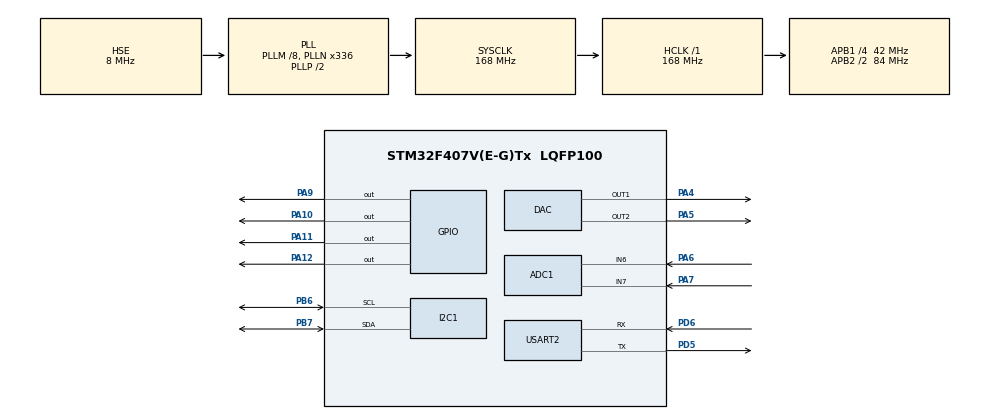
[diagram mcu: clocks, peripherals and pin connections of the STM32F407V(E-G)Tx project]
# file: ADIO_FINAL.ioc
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ADC1.Channel-10\#ChannelRegularConversion=ADC_CHANNEL_7
ADC1.Channel-7\#ChannelRegularConversion=ADC_CHANNEL_6
ADC1.ContinuousConvMode=ENABLE
ADC1.DMAContinuousRequests=ENABLE
ADC1.EOCSelection=ADC_EOC_SEQ_CONV
ADC1.EnableAnalogWatchDog=false
ADC1.InjNumberOfConversion=0
ADC1.NbrOfConversion=2
ADC1.NbrOfConversionFlag=1
ADC1.Rank-10\#ChannelRegularConversion=2
ADC1.Rank-7\#ChannelRegularConversion=1
ADC1.SamplingTime-10\#ChannelRegularConversion=ADC_SAMPLETIME_480CYCLES
ADC1.SamplingTime-7\#ChannelRegularConversion=ADC_SAMPLETIME_480CYCLES
ADC1.master=1
Dma.ADC1.0.Direction=DMA_PERIPH_TO_MEMORY
Dma.ADC1.0.FIFOMode=DMA_FIFOMODE_DISABLE
Dma.ADC1.0.Instance=DMA2_Stream0
Dma.ADC1.0.MemDataAlignment=DMA_MDATAALIGN_HALFWORD
Dma.ADC1.0.MemInc=DMA_MINC_ENABLE
Dma.ADC1.0.Mode=DMA_CIRCULAR
Dma.ADC1.0.PeriphDataAlignment=DMA_PDATAALIGN_HALFWORD
Dma.ADC1.0.PeriphInc=DMA_PINC_DISABLE
Dma.ADC1.0.Priority=DMA_PRIORITY_LOW
Dma.Request0=ADC1
I2C1.I2C_Mode=I2C_Standard
Mcu.Family=STM32F4
Mcu.Name=STM32F407V(E-G)Tx
Mcu.Package=LQFP100
NVIC.ADC_IRQn=true\:3\:0\:true\:false\:true\:true\:true\:true
NVIC.DMA2_Stream0_IRQn=true\:0\:0\:false\:false\:true\:false\:true\:true
NVIC.PriorityGroup=NVIC_PRIORITYGROUP_4
NVIC.TIM1_UP_TIM10_IRQn=true\:1\:0\:true\:false\:true\:true\:true\:true
NVIC.TIM2_IRQn=true\:2\:0\:true\:false\:true\:true\:true\:true
NVIC.TIM6_DAC_IRQn=true\:4\:0\:true\:false\:true\:true\:true\:true
NVIC.USART2_IRQn=true\:0\:0\:true\:false\:true\:true\:true\:true
PA10.Signal=GPIO_Output
PA11.Signal=GPIO_Output
PA12.Signal=GPIO_Output
PA13.Mode=Serial_Wire
PA13.Signal=SYS_JTMS-SWDIO
PA14.Mode=Serial_Wire
PA14.Signal=SYS_JTCK-SWCLK
PA4.Signal=COMP_DAC1_group
PA5.Signal=COMP_DAC2_group
PA6.Signal=ADCx_IN6
PA7.Signal=ADCx_IN7
PA9.Signal=GPIO_Output
PB6.Mode=I2C
PB6.Signal=I2C1_SCL
PB7.Mode=I2C
PB7.Signal=I2C1_SDA
PD5.Mode=Asynchronous
PD5.Signal=USART2_TX
PD6.Mode=Asynchronous
PD6.Signal=USART2_RX
PH0-OSC_IN.Mode=HSE-External-Oscillator
PH0-OSC_IN.Signal=RCC_OSC_IN
PH1-OSC_OUT.Mode=HSE-External-Oscillator
PH1-OSC_OUT.Signal=RCC_OSC_OUT
ProjectManager.HeapSize=0x200
ProjectManager.StackSize=0x400
ProjectManager.TargetToolchain=STM32CubeIDE
RCC.48MHZClocksFreq_Value=48000000
RCC.AHBFreq_Value=168000000
RCC.APB1CLKDivider=RCC_HCLK_DIV4
RCC.APB1Freq_Value=42000000
RCC.APB1TimFreq_Value=84000000
RCC.APB2CLKDivider=RCC_HCLK_DIV2
RCC.APB2Freq_Value=84000000
RCC.APB2TimFreq_Value=168000000
RCC.CortexFreq_Value=168000000
RCC.HCLKFreq_Value=168000000
RCC.HSE_VALUE=8000000
RCC.HSI_VALUE=16000000
RCC.LSE_VALUE=32768
RCC.PLLM=8
RCC.PLLN=336
RCC.PLLQ=7
RCC.PLLSourceVirtual=RCC_PLLSOURCE_HSE
RCC.SYSCLKFreq_VALUE=168000000
RCC.SYSCLKSource=RCC_SYSCLKSOURCE_PLLCLK
RCC.VCOOutputFreq_Value=336000000
SH.ADCx_IN6.0=ADC1_IN6,IN6
SH.ADCx_IN7.0=ADC1_IN7,IN7
SH.COMP_DAC1_group.0=DAC_OUT1,DAC_OUT1
SH.COMP_DAC2_group.0=DAC_OUT2,DAC_OUT2
TIM1.Period=4199
TIM1.Prescaler=1
TIM2.Period=4199
TIM2.Prescaler=0
TIM6.Period=999
TIM6.Prescaler=83
USART2.VirtualMode=VM_ASYNC
VP_TIM1_VS_ClockSourceINT.Mode=Internal
VP_TIM2_VS_ClockSourceINT.Mode=Internal
VP_TIM6_VS_ClockSourceINT.Mode=Enable_Timer
board=STM32F407G-DISC1

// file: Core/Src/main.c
/* USER CODE BEGIN Header */
/**
 ******************************************************************************
 * @file           : main.c
 * @brief          : Main program body
 ******************************************************************************
 * @attention
 *
 * Copyright (c) 2025 STMicroelectronics.
 * All rights reserved.
 *
 * This software is licensed under terms that can be found in the LICENSE file
 * in the root directory of this software component.
 * If no LICENSE file comes with this software, it is provided AS-IS.
 *
 ******************************************************************************
 */
/* USER CODE END Header */
#include "main.h"

/* USER CODE BEGIN Includes */
#include "test.h"

#include <stdio.h>
#include <string.h>
#include "uart_handler.h"
#include <math.h>
#include "i2ccomm.h"
#include "motor_control.h"
#include "test.h"
#include "relay_driver.h"
#include "DAC_Generator.h"
/* USER CODE END Includes */

ADC_HandleTypeDef hadc1;
DMA_HandleTypeDef hdma_adc1;

DAC_HandleTypeDef hdac;

I2C_HandleTypeDef hi2c1;

TIM_HandleTypeDef htim1;
TIM_HandleTypeDef htim2;
TIM_HandleTypeDef htim6;

UART_HandleTypeDef huart2;

/* USER CODE BEGIN PV */
// Application state variable
volatile uint8_t g_test_is_running = 1;
/* USER CODE END PV */

void SystemClock_Config(void);
static void MX_GPIO_Init(void);
static void MX_DMA_Init(void);
static void MX_ADC1_Init(void);
static void MX_TIM2_Init(void);
static void MX_USART2_UART_Init(void);
static void MX_I2C1_Init(void);
static void MX_TIM1_Init(void);
static void MX_TIM6_Init(void);
static void MX_DAC_Init(void);

int main(void)
{

  /* MCU Configuration--------------------------------------------------------*/

  /* Reset of all peripherals, Initializes the Flash interface and the Systick. */
  HAL_Init();

  /* Configure the system clock */
  SystemClock_Config();

  /* Initialize all configured peripherals */
  MX_GPIO_Init();
  MX_DMA_Init();
  MX_ADC1_Init();
  MX_TIM2_Init();
  MX_USART2_UART_Init();
  MX_I2C1_Init();
  MX_TIM1_Init();
  MX_TIM6_Init();
  MX_DAC_Init();
  /* USER CODE BEGIN 2 */
  int cmd_int = 0 ;
  uart_handler_init(&huart2);
  MotorControl_Init();
  Test_Init();
  /* USER CODE END 2 */

  /* Infinite loop */
	while (1) {

    /* USER CODE BEGIN 3 */
		/* ================================================================
		 * SECTION 1: UART COMMAND HANDLING (PRODUCER–CONSUMER)
		 * ================================================================ */

        if (uart_command_is_ready()) {

			const char *command = (const char*) uart_get_command_buffer();

			printf("DBG_MAIN: Command received: [%s]\r\n", command);
			fflush(stdout);

			if (strcmp(command, "CMD:PERFORM_TEST") == 0) {
				g_test_is_running = 0;
			}
			else if (strcmp(command, "CMD:STOP_TEST") == 0) {
				g_test_is_running = 1;
			} else if (strcmp(command, "CMD:CONFIG1") == 0) {
				g_test_is_running = 2;
			} else if (strcmp(command, "CMD:CONFIG2") == 0) {
				g_test_is_running = 3;
			} else if (strcmp(command, "CMD:CONFIG3") == 0) {
				g_test_is_running = 4;
			} else if (strcmp(command, "CMD:CONFIG4") == 0) {
				g_test_is_running = 5;
			}
			else if (sscanf(command, "CMD:SET_M1 %d", &cmd_int) == 1)
			{
				g_test_is_running = 6;
			}
			else if (sscanf(command, "CMD:SET_M2 %d", &cmd_int) == 1)
			{
				g_test_is_running = 7;
			}
			else
			{
				printf("DBG_MAIN: Unknown command\r\n");
				fflush(stdout);
			}

			uart_reset_for_next_command();
		}

		/* ================================================================
		 * SECTION 2: STATE-BASED ACTION DISPATCH
		 * ================================================================ */
		switch (g_test_is_running) {
		case 0:
			/* Full automated test */
			Test_Run();
			break;
		case 1:
			break;

		case 2:
			/* Corner 1: MIN / MIN */
			Test_GotoCorner(1);
			break;

		case 3:
			/* Corner 2: MIN / MAX */
			Test_GotoCorner(2);
			break;

		case 4:
			/* Corner 3: MAX / MIN */
			Test_GotoCorner(3);
			break;

		case 5:
			/* Corner 4: MAX / MAX */
			Test_GotoCorner(4);
			break;

		case 6:   // CMD:SET_M1 <0..100>
		{
		    if (cmd_int < 0)   cmd_int = 0;
		    if (cmd_int > 100) cmd_int = 100;

		    uint16_t targetPOS =
		        (uint16_t)(((uint32_t)cmd_int * 4095U) / 100U);
		    if (targetPOS < 409){
		    	targetPOS = 410;
		    }
		    if (targetPOS > 3685){
		    	targetPOS = 3684;
		    }

		    Motor_Set(MOTOR_1, targetPOS);

		    g_test_is_running = 1;
		    break;
		}
		case 7:   // CMD:SET_M2 <0..100>
		{
		    if (cmd_int < 0)   cmd_int = 0;
		    if (cmd_int > 100) cmd_int = 100;

		    uint16_t targetPOS =
		        (uint16_t)(((uint32_t)cmd_int * 4095U) / 100U);

		    if (targetPOS < 409){
		    	targetPOS = 410;
		    }
		    if (targetPOS > 3685){
		    	targetPOS= 3684;
		    }

		    Motor_Set(MOTOR_2, targetPOS);

		    g_test_is_running = 1;
		    break;
		}

		default:
			/* Idle */
			break;
		}
	}
  /* USER CODE END 3 */
}

void SystemClock_Config(void)
{
  RCC_OscInitTypeDef RCC_OscInitStruct = {0};
  RCC_ClkInitTypeDef RCC_ClkInitStruct = {0};

  /** Configure the main internal regulator output voltage
  */
  __HAL_RCC_PWR_CLK_ENABLE();
  __HAL_PWR_VOLTAGESCALING_CONFIG(PWR_REGULATOR_VOLTAGE_SCALE1);

  /** Initializes the RCC Oscillators according to the specified parameters
  * in the RCC_OscInitTypeDef structure.
  */
  RCC_OscInitStruct.OscillatorType = RCC_OSCILLATORTYPE_HSE;
  RCC_OscInitStruct.HSEState = RCC_HSE_ON;
  RCC_OscInitStruct.PLL.PLLState = RCC_PLL_ON;
  RCC_OscInitStruct.PLL.PLLSource = RCC_PLLSOURCE_HSE;
  RCC_OscInitStruct.PLL.PLLM = 8;
  RCC_OscInitStruct.PLL.PLLN = 336;
  RCC_OscInitStruct.PLL.PLLP = RCC_PLLP_DIV2;
  RCC_OscInitStruct.PLL.PLLQ = 7;
  if (HAL_RCC_OscConfig(&RCC_OscInitStruct) != HAL_OK)
  {
    Error_Handler();
  }

  /** Initializes the CPU, AHB and APB buses clocks
  */
  RCC_ClkInitStruct.ClockType = RCC_CLOCKTYPE_HCLK|RCC_CLOCKTYPE_SYSCLK
                              |RCC_CLOCKTYPE_PCLK1|RCC_CLOCKTYPE_PCLK2;
  RCC_ClkInitStruct.SYSCLKSource = RCC_SYSCLKSOURCE_PLLCLK;
  RCC_ClkInitStruct.AHBCLKDivider = RCC_SYSCLK_DIV1;
  RCC_ClkInitStruct.APB1CLKDivider = RCC_HCLK_DIV4;
  RCC_ClkInitStruct.APB2CLKDivider = RCC_HCLK_DIV2;

  if (HAL_RCC_ClockConfig(&RCC_ClkInitStruct, FLASH_LATENCY_5) != HAL_OK)
  {
    Error_Handler();
  }
}

static void MX_ADC1_Init(void)
{

  ADC_ChannelConfTypeDef sConfig = {0};

  /** Configure the global features of the ADC (Clock, Resolution, Data Alignment and number of conversion)
  */
  hadc1.Instance = ADC1;
  hadc1.Init.ClockPrescaler = ADC_CLOCK_SYNC_PCLK_DIV4;
  hadc1.Init.Resolution = ADC_RESOLUTION_12B;
  hadc1.Init.ScanConvMode = ENABLE;
  hadc1.Init.ContinuousConvMode = ENABLE;
  hadc1.Init.DiscontinuousConvMode = DISABLE;
  hadc1.Init.ExternalTrigConvEdge = ADC_EXTERNALTRIGCONVEDGE_NONE;
  hadc1.Init.ExternalTrigConv = ADC_SOFTWARE_START;
  hadc1.Init.DataAlign = ADC_DATAALIGN_RIGHT;
  hadc1.Init.NbrOfConversion = 2;
  hadc1.Init.DMAContinuousRequests = ENABLE;
  hadc1.Init.EOCSelection = ADC_EOC_SEQ_CONV;
  if (HAL_ADC_Init(&hadc1) != HAL_OK)
  {
    Error_Handler();
  }

  /** Configure for the selected ADC regular channel its corresponding rank in the sequencer and its sample time.
  */
  sConfig.Channel = ADC_CHANNEL_6;
  sConfig.Rank = 1;
  sConfig.SamplingTime = ADC_SAMPLETIME_480CYCLES;
  if (HAL_ADC_ConfigChannel(&hadc1, &sConfig) != HAL_OK)
  {
    Error_Handler();
  }

  /** Configure for the selected ADC regular channel its corresponding rank in the sequencer and its sample time.
  */
  sConfig.Channel = ADC_CHANNEL_7;
  sConfig.Rank = 2;
  if (HAL_ADC_ConfigChannel(&hadc1, &sConfig) != HAL_OK)
  {
    Error_Handler();
  }

}

static void MX_DAC_Init(void)
{

  DAC_ChannelConfTypeDef sConfig = {0};

  /** DAC Initialization
  */
  hdac.Instance = DAC;
  if (HAL_DAC_Init(&hdac) != HAL_OK)
  {
    Error_Handler();
  }

  /** DAC channel OUT1 config
  */
  sConfig.DAC_Trigger = DAC_TRIGGER_NONE;
  sConfig.DAC_OutputBuffer = DAC_OUTPUTBUFFER_ENABLE;
  if (HAL_DAC_ConfigChannel(&hdac, &sConfig, DAC_CHANNEL_1) != HAL_OK)
  {
    Error_Handler();
  }

  /** DAC channel OUT2 config
  */
  if (HAL_DAC_ConfigChannel(&hdac, &sConfig, DAC_CHANNEL_2) != HAL_OK)
  {
    Error_Handler();
  }

}

static void MX_I2C1_Init(void)
{

  hi2c1.Instance = I2C1;
  hi2c1.Init.ClockSpeed = 100000;
  hi2c1.Init.DutyCycle = I2C_DUTYCYCLE_2;
  hi2c1.Init.OwnAddress1 = 0;
  hi2c1.Init.AddressingMode = I2C_ADDRESSINGMODE_7BIT;
  hi2c1.Init.DualAddressMode = I2C_DUALADDRESS_DISABLE;
  hi2c1.Init.OwnAddress2 = 0;
  hi2c1.Init.GeneralCallMode = I2C_GENERALCALL_DISABLE;
  hi2c1.Init.NoStretchMode = I2C_NOSTRETCH_DISABLE;
  if (HAL_I2C_Init(&hi2c1) != HAL_OK)
  {
    Error_Handler();
  }

}

static void MX_TIM1_Init(void)
{

  TIM_ClockConfigTypeDef sClockSourceConfig = {0};
  TIM_MasterConfigTypeDef sMasterConfig = {0};

  htim1.Instance = TIM1;
  htim1.Init.Prescaler = 1;
  htim1.Init.CounterMode = TIM_COUNTERMODE_UP;
  htim1.Init.Period = 4199;
  htim1.Init.ClockDivision = TIM_CLOCKDIVISION_DIV1;
  htim1.Init.RepetitionCounter = 0;
  htim1.Init.AutoReloadPreload = TIM_AUTORELOAD_PRELOAD_DISABLE;
  if (HAL_TIM_Base_Init(&htim1) != HAL_OK)
  {
    Error_Handler();
  }
  sClockSourceConfig.ClockSource = TIM_CLOCKSOURCE_INTERNAL;
  if (HAL_TIM_ConfigClockSource(&htim1, &sClockSourceConfig) != HAL_OK)
  {
    Error_Handler();
  }
  sMasterConfig.MasterOutputTrigger = TIM_TRGO_RESET;
  sMasterConfig.MasterSlaveMode = TIM_MASTERSLAVEMODE_DISABLE;
  if (HAL_TIMEx_MasterConfigSynchronization(&htim1, &sMasterConfig) != HAL_OK)
  {
    Error_Handler();
  }

}

static void MX_TIM2_Init(void)
{

  TIM_ClockConfigTypeDef sClockSourceConfig = {0};
  TIM_MasterConfigTypeDef sMasterConfig = {0};

  htim2.Instance = TIM2;
  htim2.Init.Prescaler = 0;
  htim2.Init.CounterMode = TIM_COUNTERMODE_UP;
  htim2.Init.Period = 4199;
  htim2.Init.ClockDivision = TIM_CLOCKDIVISION_DIV1;
  htim2.Init.AutoReloadPreload = TIM_AUTORELOAD_PRELOAD_DISABLE;
  if (HAL_TIM_Base_Init(&htim2) != HAL_OK)
  {
    Error_Handler();
  }
  sClockSourceConfig.ClockSource = TIM_CLOCKSOURCE_INTERNAL;
  if (HAL_TIM_ConfigClockSource(&htim2, &sClockSourceConfig) != HAL_OK)
  {
    Error_Handler();
  }
  sMasterConfig.MasterOutputTrigger = TIM_TRGO_RESET;
  sMasterConfig.MasterSlaveMode = TIM_MASTERSLAVEMODE_DISABLE;
  if (HAL_TIMEx_MasterConfigSynchronization(&htim2, &sMasterConfig) != HAL_OK)
  {
    Error_Handler();
  }

}

static void MX_TIM6_Init(void)
{

  TIM_MasterConfigTypeDef sMasterConfig = {0};

  htim6.Instance = TIM6;
  htim6.Init.Prescaler = 83;
  htim6.Init.CounterMode = TIM_COUNTERMODE_UP;
  htim6.Init.Period = 999;
  htim6.Init.AutoReloadPreload = TIM_AUTORELOAD_PRELOAD_DISABLE;
  if (HAL_TIM_Base_Init(&htim6) != HAL_OK)
  {
    Error_Handler();
  }
  sMasterConfig.MasterOutputTrigger = TIM_TRGO_RESET;
  sMasterConfig.MasterSlaveMode = TIM_MASTERSLAVEMODE_DISABLE;
  if (HAL_TIMEx_MasterConfigSynchronization(&htim6, &sMasterConfig) != HAL_OK)
  {
    Error_Handler();
  }

}

static void MX_USART2_UART_Init(void)
{

  huart2.Instance = USART2;
  huart2.Init.BaudRate = 115200;
  huart2.Init.WordLength = UART_WORDLENGTH_8B;
  huart2.Init.StopBits = UART_STOPBITS_1;
  huart2.Init.Parity = UART_PARITY_NONE;
  huart2.Init.Mode = UART_MODE_TX_RX;
  huart2.Init.HwFlowCtl = UART_HWCONTROL_NONE;
  huart2.Init.OverSampling = UART_OVERSAMPLING_16;
  if (HAL_UART_Init(&huart2) != HAL_OK)
  {
    Error_Handler();
  }

}

static void MX_DMA_Init(void)
{

  /* DMA controller clock enable */
  __HAL_RCC_DMA2_CLK_ENABLE();

  /* DMA interrupt init */
  /* DMA2_Stream0_IRQn interrupt configuration */
  HAL_NVIC_SetPriority(DMA2_Stream0_IRQn, 0, 0);
  HAL_NVIC_EnableIRQ(DMA2_Stream0_IRQn);

}

static void MX_GPIO_Init(void)
{
  GPIO_InitTypeDef GPIO_InitStruct = {0};

  /* GPIO Ports Clock Enable */
  __HAL_RCC_GPIOH_CLK_ENABLE();
  __HAL_RCC_GPIOA_CLK_ENABLE();
  __HAL_RCC_GPIOD_CLK_ENABLE();
  __HAL_RCC_GPIOB_CLK_ENABLE();

  /*Configure GPIO pin Output Level */
  HAL_GPIO_WritePin(GPIOA, GPIO_PIN_9|GPIO_PIN_10|GPIO_PIN_11|GPIO_PIN_12, GPIO_PIN_RESET);

  /*Configure GPIO pins : PA9 PA10 PA11 PA12 */
  GPIO_InitStruct.Pin = GPIO_PIN_9|GPIO_PIN_10|GPIO_PIN_11|GPIO_PIN_12;
  GPIO_InitStruct.Mode = GPIO_MODE_OUTPUT_PP;
  GPIO_InitStruct.Pull = GPIO_NOPULL;
  GPIO_InitStruct.Speed = GPIO_SPEED_FREQ_LOW;
  HAL_GPIO_Init(GPIOA, &GPIO_InitStruct);

}

void Error_Handler(void)
{
	__disable_irq();
	while (1) {
	}
}
